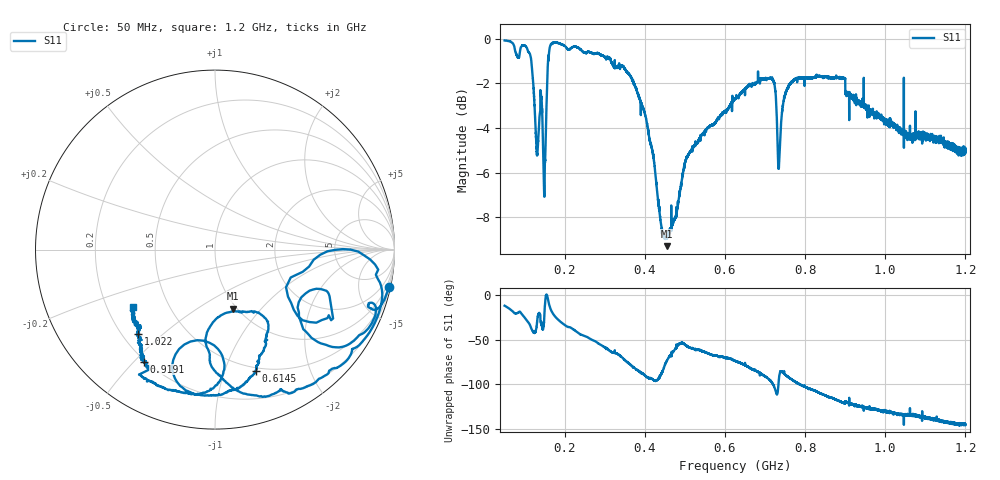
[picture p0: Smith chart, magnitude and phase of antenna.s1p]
! Calibrated high-resolution NanoVNA antenna measurement
# Hz S RI R 50
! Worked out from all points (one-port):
!   40001 points, 50 MHz to 1.2 GHz, reference 50 ohm
!   lowest |S11| = -9.3 dB at 455 MHz (marker M1), VSWR 2.04, Z = 48 - j35.7 ohm
!   |S11| at or under -10 dB: nowhere
!   S11 on the Smith chart (normalised r, x): 50 MHz: 0.44, -9.37; 614.5 MHz: 0.47, -1.28; 919.1 MHz: 0.19, -0.53; 1.022 GHz: 0.26, -0.41; 1.2 GHz: 0.30, -0.29
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5e7  0.968 -0.2085
1.012038e8  0.8658 -0.4228
1.1854e8  0.66 -0.5424
1.283438e8  0.4676 -0.3791
1.384925e8  0.6351 -0.2529
1.4384e8  0.5446 -0.4089
1.485262e8  0.3953 -0.2199
1.552825e8  0.749 0.00103
1.640225e8  0.9318 -0.2505
1.9375e8  0.8258 -0.5069
3.375e8  0.3312 -0.8013
4.0765e8  -0.0288 -0.6276
4.292125e8  -0.0464 -0.4659
4.549725e8  0.099 -0.3284
4.8125e8  0.2307 -0.3496
5.077e8  0.2904 -0.4654
6.144775e8  0.2276 -0.6753
6.25e8  0.2054 -0.7037
7.0642e8  -0.0412 -0.8122
7.261138e8  -0.2187 -0.7262
7.338188e8  -0.0693 -0.506
7.4115e8  0.0517 -0.6638
7.6875e8  -0.0716 -0.7987
9.125e8  -0.3871 -0.6372
9.191125e8  -0.3967 -0.6239
1.022066e9  -0.4295 -0.4676
1.05625e9  -0.4172 -0.4317
1.2e9  -0.4645 -0.3209
